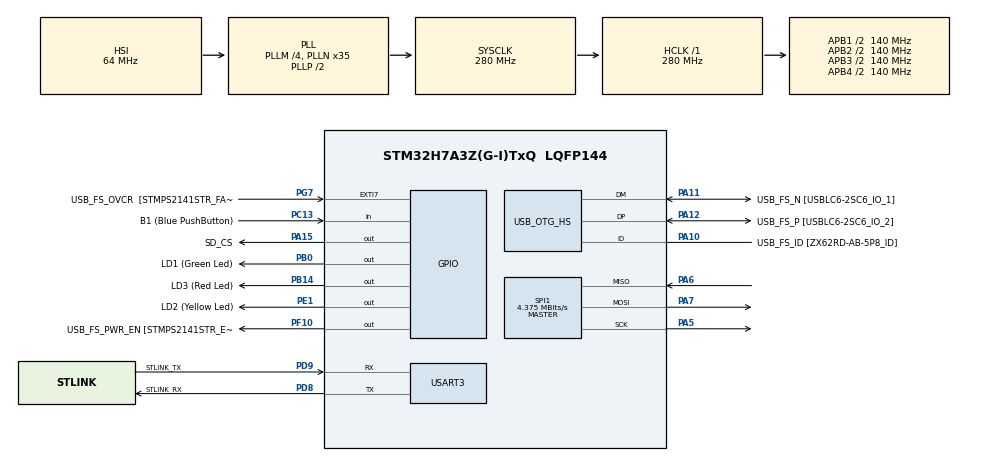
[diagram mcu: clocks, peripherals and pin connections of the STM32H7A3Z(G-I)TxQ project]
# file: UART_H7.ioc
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FATFS._FS_LOCK=5
FATFS._MAX_SS=4096
FATFS._USE_LFN=1
Mcu.Family=STM32H7
Mcu.Name=STM32H7A3Z(G-I)TxQ
Mcu.Package=LQFP144
NVIC.PriorityGroup=NVIC_PRIORITYGROUP_4
PA10.GPIO_Label=USB_FS_ID [ZX62RD-AB-5P8_ID]
PA10.Mode=OTG/Dual-Role-Device-FS
PA10.Signal=USB_OTG_HS_ID
PA11.GPIO_Label=USB_FS_N [USBLC6-2SC6_IO_1]
PA11.Mode=OTG/Dual-Role-Device-FS
PA11.Signal=USB_OTG_HS_DM
PA12.GPIO_Label=USB_FS_P [USBLC6-2SC6_IO_2]
PA12.Mode=OTG/Dual-Role-Device-FS
PA12.Signal=USB_OTG_HS_DP
PA13.Mode=Serial_Wire
PA13.Signal=DEBUG_JTMS-SWDIO
PA14.Mode=Serial_Wire
PA14.Signal=DEBUG_JTCK-SWCLK
PA15.GPIO_Label=SD_CS
PA15.GPIO_Speed=GPIO_SPEED_FREQ_MEDIUM
PA15.PinState=GPIO_PIN_SET
PA15.Signal=GPIO_Output
PA5.Mode=Full_Duplex_Master
PA5.Signal=SPI1_SCK
PA6.Mode=Full_Duplex_Master
PA6.Signal=SPI1_MISO
PA7.Mode=Full_Duplex_Master
PA7.Signal=SPI1_MOSI
PA9.GPIO_Label=USB_FS_VBUS  [ZX62RD-AB-5P8_VBUS]
PA9.Signal=USB_OTG_HS_VBUS
PB0.GPIO_Label=LD1 (Green Led)
PB0.Signal=GPIO_Output
PB14.GPIO_Label=LD3 (Red Led)
PB14.Signal=GPIO_Output
PC13.GPIO_Label=B1 (Blue PushButton)
PC13.Signal=GPIO_Input
PC14-OSC32_IN.GPIO_Label=OSC32_IN
PC14-OSC32_IN.Signal=RCC_OSC32_IN
PC15-OSC32_OUT.GPIO_Label=OSC32_OUT
PC15-OSC32_OUT.Signal=RCC_OSC32_OUT
PD8.GPIO_Label=STLINK_RX
PD8.Mode=Asynchronous
PD8.Signal=USART3_TX
PD9.GPIO_Label=STLINK_TX
PD9.Mode=Asynchronous
PD9.Signal=USART3_RX
PE1.GPIO_Label=LD2 (Yellow Led)
PE1.Signal=GPIO_Output
PF10.GPIO_Label=USB_FS_PWR_EN [STMPS2141STR_EN]
PF10.Signal=GPIO_Output
PG7.GPIO_Label=USB_FS_OVCR  [STMPS2141STR_FAULT]
PG7.Signal=GPXTI7
PH0-OSC_IN.GPIO_Label=PH0-MCU
PH0-OSC_IN.Mode=HSE-External-Oscillator
PH0-OSC_IN.Signal=RCC_OSC_IN
PH1-OSC_OUT.GPIO_Label=PH1-MCU
PH1-OSC_OUT.Mode=HSE-External-Oscillator
PH1-OSC_OUT.Signal=RCC_OSC_OUT
ProjectManager.HeapSize=0x200
ProjectManager.StackSize=0x400
ProjectManager.TargetToolchain=STM32CubeIDE
RCC.ADCFreq_Value=129000000
RCC.APB1Freq_Value=140000000
RCC.APB2Freq_Value=140000000
RCC.APB3Freq_Value=140000000
RCC.APB4Freq_Value=140000000
RCC.CDPPRE=RCC_APB3_DIV2
RCC.CDPPRE1=RCC_APB1_DIV2
RCC.CDPPRE2=RCC_APB2_DIV2
RCC.CortexFreq_Value=280000000
RCC.DIVM1=4
RCC.DIVM3=1
RCC.DIVN1=35
RCC.DIVN3=24
RCC.HCLKFreq_Value=280000000
RCC.HSE_VALUE=8000000
RCC.PLL2FRACN=0
RCC.PLL3FRACN=0
RCC.PLLFRACN=0
RCC.PWR_Regulator_Voltage_Scale=PWR_REGULATOR_VOLTAGE_SCALE0
RCC.SRDPPRE=RCC_APB4_DIV2
RCC.SYSCLKFreq_VALUE=280000000
RCC.SYSCLKSource=RCC_SYSCLKSOURCE_PLLCLK
RCC.SupplySource=PWR_DIRECT_SMPS_SUPPLY
RCC.USBCLockSelection=RCC_USBCLKSOURCE_HSI48
RCC.USBFreq_Value=48000000
SPI1.BaudRatePrescaler=SPI_BAUDRATEPRESCALER_64
SPI1.CalculateBaudRate=4.375 MBits/s
SPI1.DataSize=SPI_DATASIZE_8BIT
SPI1.Direction=SPI_DIRECTION_2LINES
SPI1.Mode=SPI_MODE_MASTER
SPI1.VirtualType=VM_MASTER
USART3.VirtualMode-Asynchronous=VM_ASYNC
VP_FATFS_VS_Generic.Mode=User_defined
board=NUCLEO-H7A3ZI-Q

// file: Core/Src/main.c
/* USER CODE BEGIN Header */
/**
  ******************************************************************************
  * @file           : main.c
  * @brief          : Main program body
  ******************************************************************************
  * @attention
  *
  * Copyright (c) 2024 STMicroelectronics.
  * All rights reserved.
  *
  * This software is licensed under terms that can be found in the LICENSE file
  * in the root directory of this software component.
  * If no LICENSE file comes with this software, it is provided AS-IS.
  *
  ******************************************************************************
  */
/* USER CODE END Header */
#include "main.h"
#include "fatfs.h"

/* USER CODE BEGIN Includes */
#include "fatfs_sd.h"
#include "string.h"
#include <stdio.h>

/* USER CODE END Includes */

/* USER CODE BEGIN PD */
FATFS fs;
FATFS *pfs;
FIL fil;
FRESULT fresult;
DWORD fre_clust;
uint32_t total, free_space;
char buffer[1024];
UINT br,bw;
/* USER CODE END PD */

SPI_HandleTypeDef hspi1;

UART_HandleTypeDef huart3;

void SystemClock_Config(void);
static void MX_GPIO_Init(void);
static void MX_USART3_UART_Init(void);
static void MX_SPI1_Init(void);
static void MX_USB_OTG_HS_USB_Init(void);

/* USER CODE BEGIN 0 */
void send_uart(char *string){
 		uint8_t len = strlen (string);
 		HAL_UART_Transmit(&huart3, (uint8_t*) string, len, 200);
 	}
/* to find the size of the buffer*/

int bufsize (char *buf){
	int i=0;
	while (*buf++ != '\0') i ++;
	return i;
}

void bufclear (void) {// clear buffer
for (int i = 0; i < 1024; i++) {
	buffer[i]='\0';
}
}
/* USER CODE END 0 */

int main(void)
{

  /* MCU Configuration--------------------------------------------------------*/

  /* Reset of all peripherals, Initializes the Flash interface and the Systick. */
  HAL_Init();

  /* Configure the system clock */
  SystemClock_Config();

  /* Initialize all configured peripherals */
  MX_GPIO_Init();
  MX_USART3_UART_Init();
  MX_SPI1_Init();
  MX_FATFS_Init();
  MX_USB_OTG_HS_USB_Init();
  /* USER CODE BEGIN 2 */
  fresult = f_mount(&fs, "", 0);
      	if (fresult != FR_OK) {
      	    send_uart("SD card MOUNT FAILED...\r\n");
      	} else {
      	    send_uart("SD card MOUNTED...\r\n");

      	   /* Check free space */
      	  f_getfree("", &fre_clust, &pfs);
      	    if (fresult != FR_OK) {
      	    	send_uart("SD card MOUNT FAILED...\r\n");
      	} else {

      	    /* Calculate total space only after mounting */
      	    total = (uint32_t)((pfs->n_fatent - 2) * pfs->csize * 0.5);

      	   /* Print total space */
      	    sprintf(buffer, "Total SD card space: %lu \r\n", total);
      	    send_uart(buffer);
      	    bufclear();
      	}
      	  if (fresult != FR_OK) {
      		send_uart("SD card MOUNT FAILED...\r\n");
      	  }else if(fresult == FR_OK){
      	   /* Calculate available space */
      	    free_space = (uint32_t)(fre_clust * pfs->csize * 0.5);

      	   /* Print available space */
      	    sprintf(buffer, "Available Space: %lu \r\n", free_space);
      	    send_uart(buffer);
      	    bufclear();
      	  }
     	 //open a file to write, if it doesn't exist, it creates.
     	  fresult = f_open(&fil, "ADXL1_DATA.txt", FA_OPEN_ALWAYS | FA_READ | FA_WRITE);

     	  //Write the text
     	  fresult = f_puts("LET's GO!!! HERE!\r\n", &fil);

     	  // close file
     	  fresult = f_close(&fil);
     	  send_uart("ADXL1_DATA.txt created & data is written\r\n");

     	  //open the file to read
     	  fresult = f_open(&fil,"ADXL1_DATA.txt", FA_READ);

   	  // Read the text from the file
     	  f_gets(buffer,sizeof(buffer),&fil);

     	  send_uart(buffer);

     	  //close file
     	  f_close(&fil);
     	  bufclear();
     	}

  /* USER CODE END 2 */

  /* Infinite loop */
  while (1)
  {

  }
}

void SystemClock_Config(void)
{
  RCC_OscInitTypeDef RCC_OscInitStruct = {0};
  RCC_ClkInitTypeDef RCC_ClkInitStruct = {0};

  /*AXI clock gating */
  RCC->CKGAENR = 0xFFFFFFFF;

  /** Supply configuration update enable
  */
  HAL_PWREx_ConfigSupply(PWR_DIRECT_SMPS_SUPPLY);

  /** Configure the main internal regulator output voltage
  */
  __HAL_PWR_VOLTAGESCALING_CONFIG(PWR_REGULATOR_VOLTAGE_SCALE0);

  while(!__HAL_PWR_GET_FLAG(PWR_FLAG_VOSRDY)) {}

  /** Initializes the RCC Oscillators according to the specified parameters
  * in the RCC_OscInitTypeDef structure.
  */
  RCC_OscInitStruct.OscillatorType = RCC_OSCILLATORTYPE_HSI48|RCC_OSCILLATORTYPE_HSI;
  RCC_OscInitStruct.HSIState = RCC_HSI_DIV1;
  RCC_OscInitStruct.HSICalibrationValue = 64;
  RCC_OscInitStruct.HSI48State = RCC_HSI48_ON;
  RCC_OscInitStruct.PLL.PLLState = RCC_PLL_ON;
  RCC_OscInitStruct.PLL.PLLSource = RCC_PLLSOURCE_HSI;
  RCC_OscInitStruct.PLL.PLLM = 4;
  RCC_OscInitStruct.PLL.PLLN = 35;
  RCC_OscInitStruct.PLL.PLLP = 2;
  RCC_OscInitStruct.PLL.PLLQ = 2;
  RCC_OscInitStruct.PLL.PLLR = 2;
  RCC_OscInitStruct.PLL.PLLRGE = RCC_PLL1VCIRANGE_3;
  RCC_OscInitStruct.PLL.PLLVCOSEL = RCC_PLL1VCOWIDE;
  RCC_OscInitStruct.PLL.PLLFRACN = 0;
  if (HAL_RCC_OscConfig(&RCC_OscInitStruct) != HAL_OK)
  {
    Error_Handler();
  }

  /** Initializes the CPU, AHB and APB buses clocks
  */
  RCC_ClkInitStruct.ClockType = RCC_CLOCKTYPE_HCLK|RCC_CLOCKTYPE_SYSCLK
                              |RCC_CLOCKTYPE_PCLK1|RCC_CLOCKTYPE_PCLK2
                              |RCC_CLOCKTYPE_D3PCLK1|RCC_CLOCKTYPE_D1PCLK1;
  RCC_ClkInitStruct.SYSCLKSource = RCC_SYSCLKSOURCE_PLLCLK;
  RCC_ClkInitStruct.SYSCLKDivider = RCC_SYSCLK_DIV1;
  RCC_ClkInitStruct.AHBCLKDivider = RCC_HCLK_DIV1;
  RCC_ClkInitStruct.APB3CLKDivider = RCC_APB3_DIV2;
  RCC_ClkInitStruct.APB1CLKDivider = RCC_APB1_DIV2;
  RCC_ClkInitStruct.APB2CLKDivider = RCC_APB2_DIV2;
  RCC_ClkInitStruct.APB4CLKDivider = RCC_APB4_DIV2;

  if (HAL_RCC_ClockConfig(&RCC_ClkInitStruct, FLASH_LATENCY_6) != HAL_OK)
  {
    Error_Handler();
  }
}

static void MX_SPI1_Init(void)
{

  /* SPI1 parameter configuration*/
  hspi1.Instance = SPI1;
  hspi1.Init.Mode = SPI_MODE_MASTER;
  hspi1.Init.Direction = SPI_DIRECTION_2LINES;
  hspi1.Init.DataSize = SPI_DATASIZE_8BIT;
  hspi1.Init.CLKPolarity = SPI_POLARITY_LOW;
  hspi1.Init.CLKPhase = SPI_PHASE_1EDGE;
  hspi1.Init.NSS = SPI_NSS_SOFT;
  hspi1.Init.BaudRatePrescaler = SPI_BAUDRATEPRESCALER_64;
  hspi1.Init.FirstBit = SPI_FIRSTBIT_MSB;
  hspi1.Init.TIMode = SPI_TIMODE_DISABLE;
  hspi1.Init.CRCCalculation = SPI_CRCCALCULATION_DISABLE;
  hspi1.Init.CRCPolynomial = 0x0;
  hspi1.Init.NSSPMode = SPI_NSS_PULSE_ENABLE;
  hspi1.Init.NSSPolarity = SPI_NSS_POLARITY_LOW;
  hspi1.Init.FifoThreshold = SPI_FIFO_THRESHOLD_01DATA;
  hspi1.Init.TxCRCInitializationPattern = SPI_CRC_INITIALIZATION_ALL_ZERO_PATTERN;
  hspi1.Init.RxCRCInitializationPattern = SPI_CRC_INITIALIZATION_ALL_ZERO_PATTERN;
  hspi1.Init.MasterSSIdleness = SPI_MASTER_SS_IDLENESS_00CYCLE;
  hspi1.Init.MasterInterDataIdleness = SPI_MASTER_INTERDATA_IDLENESS_00CYCLE;
  hspi1.Init.MasterReceiverAutoSusp = SPI_MASTER_RX_AUTOSUSP_DISABLE;
  hspi1.Init.MasterKeepIOState = SPI_MASTER_KEEP_IO_STATE_DISABLE;
  hspi1.Init.IOSwap = SPI_IO_SWAP_DISABLE;
  if (HAL_SPI_Init(&hspi1) != HAL_OK)
  {
    Error_Handler();
  }

}

static void MX_USART3_UART_Init(void)
{

  huart3.Instance = USART3;
  huart3.Init.BaudRate = 115200;
  huart3.Init.WordLength = UART_WORDLENGTH_8B;
  huart3.Init.StopBits = UART_STOPBITS_1;
  huart3.Init.Parity = UART_PARITY_NONE;
  huart3.Init.Mode = UART_MODE_TX_RX;
  huart3.Init.HwFlowCtl = UART_HWCONTROL_NONE;
  huart3.Init.OverSampling = UART_OVERSAMPLING_16;
  huart3.Init.OneBitSampling = UART_ONE_BIT_SAMPLE_DISABLE;
  huart3.Init.ClockPrescaler = UART_PRESCALER_DIV1;
  huart3.AdvancedInit.AdvFeatureInit = UART_ADVFEATURE_NO_INIT;
  if (HAL_UART_Init(&huart3) != HAL_OK)
  {
    Error_Handler();
  }
  if (HAL_UARTEx_SetTxFifoThreshold(&huart3, UART_TXFIFO_THRESHOLD_1_8) != HAL_OK)
  {
    Error_Handler();
  }
  if (HAL_UARTEx_SetRxFifoThreshold(&huart3, UART_RXFIFO_THRESHOLD_1_8) != HAL_OK)
  {
    Error_Handler();
  }
  if (HAL_UARTEx_DisableFifoMode(&huart3) != HAL_OK)
  {
    Error_Handler();
  }

}

static void MX_USB_OTG_HS_USB_Init(void)
{

}

static void MX_GPIO_Init(void)
{
  GPIO_InitTypeDef GPIO_InitStruct = {0};

  /* GPIO Ports Clock Enable */
  __HAL_RCC_GPIOC_CLK_ENABLE();
  __HAL_RCC_GPIOF_CLK_ENABLE();
  __HAL_RCC_GPIOH_CLK_ENABLE();
  __HAL_RCC_GPIOA_CLK_ENABLE();
  __HAL_RCC_GPIOB_CLK_ENABLE();
  __HAL_RCC_GPIOD_CLK_ENABLE();
  __HAL_RCC_GPIOG_CLK_ENABLE();
  __HAL_RCC_GPIOE_CLK_ENABLE();

  /*Configure GPIO pin Output Level */
  HAL_GPIO_WritePin(USB_FS_PWR_EN_GPIO_Port, USB_FS_PWR_EN_Pin, GPIO_PIN_RESET);

  /*Configure GPIO pin Output Level */
  HAL_GPIO_WritePin(GPIOB, LD1_Pin|LD3_Pin, GPIO_PIN_RESET);

  /*Configure GPIO pin Output Level */
  HAL_GPIO_WritePin(SD_CS_GPIO_Port, SD_CS_Pin, GPIO_PIN_SET);

  /*Configure GPIO pin Output Level */
  HAL_GPIO_WritePin(LD2_GPIO_Port, LD2_Pin, GPIO_PIN_RESET);

  /*Configure GPIO pin : B1_Pin */
  GPIO_InitStruct.Pin = B1_Pin;
  GPIO_InitStruct.Mode = GPIO_MODE_INPUT;
  GPIO_InitStruct.Pull = GPIO_NOPULL;
  HAL_GPIO_Init(B1_GPIO_Port, &GPIO_InitStruct);

  /*Configure GPIO pin : USB_FS_PWR_EN_Pin */
  GPIO_InitStruct.Pin = USB_FS_PWR_EN_Pin;
  GPIO_InitStruct.Mode = GPIO_MODE_OUTPUT_PP;
  GPIO_InitStruct.Pull = GPIO_NOPULL;
  GPIO_InitStruct.Speed = GPIO_SPEED_FREQ_LOW;
  HAL_GPIO_Init(USB_FS_PWR_EN_GPIO_Port, &GPIO_InitStruct);

  /*Configure GPIO pins : LD1_Pin LD3_Pin */
  GPIO_InitStruct.Pin = LD1_Pin|LD3_Pin;
  GPIO_InitStruct.Mode = GPIO_MODE_OUTPUT_PP;
  GPIO_InitStruct.Pull = GPIO_NOPULL;
  GPIO_InitStruct.Speed = GPIO_SPEED_FREQ_LOW;
  HAL_GPIO_Init(GPIOB, &GPIO_InitStruct);

  /*Configure GPIO pin : USB_FS_OVCR_Pin */
  GPIO_InitStruct.Pin = USB_FS_OVCR_Pin;
  GPIO_InitStruct.Mode = GPIO_MODE_IT_RISING;
  GPIO_InitStruct.Pull = GPIO_NOPULL;
  HAL_GPIO_Init(USB_FS_OVCR_GPIO_Port, &GPIO_InitStruct);

  /*Configure GPIO pin : USB_FS_ID_Pin */
  GPIO_InitStruct.Pin = USB_FS_ID_Pin;
  GPIO_InitStruct.Mode = GPIO_MODE_AF_PP;
  GPIO_InitStruct.Pull = GPIO_NOPULL;
  GPIO_InitStruct.Speed = GPIO_SPEED_FREQ_LOW;
  GPIO_InitStruct.Alternate = GPIO_AF10_OTG1_HS;
  HAL_GPIO_Init(USB_FS_ID_GPIO_Port, &GPIO_InitStruct);

  /*Configure GPIO pins : USB_FS_N_Pin USB_FS_P_Pin */
  GPIO_InitStruct.Pin = USB_FS_N_Pin|USB_FS_P_Pin;
  GPIO_InitStruct.Mode = GPIO_MODE_AF_PP;
  GPIO_InitStruct.Pull = GPIO_NOPULL;
  GPIO_InitStruct.Speed = GPIO_SPEED_FREQ_LOW;
  HAL_GPIO_Init(GPIOA, &GPIO_InitStruct);

  /*Configure GPIO pin : SD_CS_Pin */
  GPIO_InitStruct.Pin = SD_CS_Pin;
  GPIO_InitStruct.Mode = GPIO_MODE_OUTPUT_PP;
  GPIO_InitStruct.Pull = GPIO_NOPULL;
  GPIO_InitStruct.Speed = GPIO_SPEED_FREQ_MEDIUM;
  HAL_GPIO_Init(SD_CS_GPIO_Port, &GPIO_InitStruct);

  /*Configure GPIO pin : LD2_Pin */
  GPIO_InitStruct.Pin = LD2_Pin;
  GPIO_InitStruct.Mode = GPIO_MODE_OUTPUT_PP;
  GPIO_InitStruct.Pull = GPIO_NOPULL;
  GPIO_InitStruct.Speed = GPIO_SPEED_FREQ_LOW;
  HAL_GPIO_Init(LD2_GPIO_Port, &GPIO_InitStruct);

}

void Error_Handler(void)
{
  __disable_irq();
  while (1)
  {
  }
}
